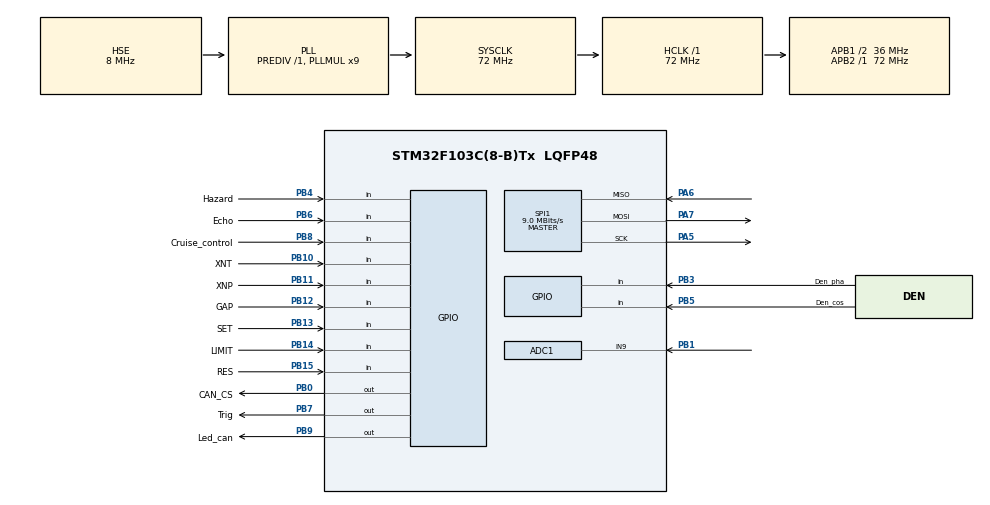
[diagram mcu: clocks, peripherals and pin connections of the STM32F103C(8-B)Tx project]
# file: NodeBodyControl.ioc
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ADC1.Channel-0\#ChannelRegularConversion=ADC_CHANNEL_9
ADC1.ContinuousConvMode=ENABLE
ADC1.NbrOfConversionFlag=1
ADC1.Rank-0\#ChannelRegularConversion=1
ADC1.SamplingTime-0\#ChannelRegularConversion=ADC_SAMPLETIME_1CYCLE_5
ADC1.master=1
Mcu.Family=STM32F1
Mcu.Name=STM32F103C(8-B)Tx
Mcu.Package=LQFP48
NVIC.PriorityGroup=NVIC_PRIORITYGROUP_4
PA13.Mode=Serial_Wire
PA13.Signal=SYS_JTMS-SWDIO
PA14.Mode=Serial_Wire
PA14.Signal=SYS_JTCK-SWCLK
PA5.Mode=Full_Duplex_Master
PA5.Signal=SPI1_SCK
PA6.Mode=Full_Duplex_Master
PA6.Signal=SPI1_MISO
PA7.Mode=Full_Duplex_Master
PA7.Signal=SPI1_MOSI
PB0.GPIO_Label=CAN_CS
PB0.Signal=GPIO_Output
PB1.Signal=ADCx_IN9
PB10.GPIO_Label=XNT
PB10.GPIO_PuPd=GPIO_PULLUP
PB10.Signal=GPIO_Input
PB11.GPIO_Label=XNP
PB11.GPIO_PuPd=GPIO_PULLUP
PB11.Signal=GPIO_Input
PB12.GPIO_Label=GAP
PB12.Signal=GPIO_Input
PB13.GPIO_Label=SET
PB13.Signal=GPIO_Input
PB14.GPIO_Label=LIMIT
PB14.Signal=GPIO_Input
PB15.GPIO_Label=RES
PB15.Signal=GPIO_Input
PB3.GPIO_Label=Den_pha
PB3.Signal=GPIO_Input
PB4.GPIO_Label=Hazard
PB4.Signal=GPIO_Input
PB5.GPIO_Label=Den_cos
PB5.Signal=GPIO_Input
PB6.GPIO_Label=Echo
PB6.Signal=GPIO_Input
PB7.GPIO_Label=Trig
PB7.Signal=GPIO_Output
PB8.GPIO_Label=Cruise_control
PB8.GPIO_PuPd=GPIO_PULLUP
PB8.Signal=GPIO_Input
PB9.GPIO_Label=Led_can
PB9.Signal=GPIO_Output
PD0-OSC_IN.Mode=HSE-External-Oscillator
PD0-OSC_IN.Signal=RCC_OSC_IN
PD1-OSC_OUT.Mode=HSE-External-Oscillator
PD1-OSC_OUT.Signal=RCC_OSC_OUT
ProjectManager.HeapSize=0x200
ProjectManager.StackSize=0x400
ProjectManager.TargetToolchain=MDK-ARM V5
RCC.ADCPresc=RCC_ADCPCLK2_DIV6
RCC.AHBFreq_Value=72000000
RCC.APB1CLKDivider=RCC_HCLK_DIV2
RCC.APB1Freq_Value=36000000
RCC.APB1TimFreq_Value=72000000
RCC.APB2Freq_Value=72000000
RCC.APB2TimFreq_Value=72000000
RCC.HCLKFreq_Value=72000000
RCC.PLLMUL=RCC_PLL_MUL9
RCC.PLLSourceVirtual=RCC_PLLSOURCE_HSE
RCC.SYSCLKFreq_VALUE=72000000
RCC.SYSCLKSource=RCC_SYSCLKSOURCE_PLLCLK
RCC.USBFreq_Value=72000000
SH.ADCx_IN9.0=ADC1_IN9,IN9
SPI1.BaudRatePrescaler=SPI_BAUDRATEPRESCALER_8
SPI1.CalculateBaudRate=9.0 MBits/s
SPI1.Direction=SPI_DIRECTION_2LINES
SPI1.Mode=SPI_MODE_MASTER
SPI1.VirtualType=VM_MASTER
TIM1.Prescaler=71
VP_TIM1_VS_ClockSourceINT.Mode=Internal
board=custom

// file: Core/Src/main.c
/* USER CODE BEGIN Header */
/**
  ******************************************************************************
  * @file           : main.c
  * @brief          : Main program body
  ******************************************************************************
  * @attention
  *
  * Copyright (c) 2025 STMicroelectronics.
  * All rights reserved.
  *
  * This software is licensed under terms that can be found in the LICENSE file
  * in the root directory of this software component.
  * If no LICENSE file comes with this software, it is provided AS-IS.
  *
  ******************************************************************************
  */
/* USER CODE END Header */
#include "main.h"

/* USER CODE BEGIN Includes */
#include "stdlib.h"
#include "stm32f1xx_hal.h"
#include "CAN_SPI.h"
/* USER CODE END Includes */

ADC_HandleTypeDef hadc1;

SPI_HandleTypeDef hspi1;

TIM_HandleTypeDef htim1;

/* USER CODE BEGIN PV */

uint8_t debug;
uint8_t cruise_state = 0;
uint16_t set_speed = 0;

typedef struct {
    // Byte 0: cum ADAS
    uint8_t btn_byte0;

    // byte 1: cum den
		uint8_t btn_byte1;

    // Byte 2-3: Joystick (16 bit)
    uint16_t joystick_val;

    // Byte 4-5: distance (16 bit)
    uint16_t distance_cm;

    // Byte 6: Level Gap (1, 2, 3)
    uint8_t gap_level;

    uint8_t target_speed;

} BodyControl_Data_t;

typedef union {
    BodyControl_Data_t frame;
    uint8_t raw_data[8];
} CAN_Packet_u;

uint16_t Distance  = 0;  // cm

uint16_t readValueX;
uint16_t lastSentX = 2048;
#define JOYSTICK_DEADZONE 15

uCAN_MSG txMessage;
uCAN_MSG rxMessage;
/* USER CODE END PV */

void SystemClock_Config(void);
static void MX_GPIO_Init(void);
static void MX_ADC1_Init(void);
static void MX_SPI1_Init(void);
static void MX_TIM1_Init(void);

/* USER CODE BEGIN 0 */
#define ADC_SAMPLES 5

uint16_t readADC_Filtered(ADC_HandleTypeDef* hadc) {
	uint32_t adc_sum = 0;
	for (int i = 0; i < ADC_SAMPLES; i++) {
		adc_sum += HAL_ADC_GetValue(hadc);
	}
	return adc_sum / ADC_SAMPLES;
}

// Ham doc HC-SR04
uint16_t HCSR04_Read(void) {
    uint32_t pMillis;
    uint32_t Value1 = 0;
    uint32_t Value2 = 0;

    // Tao xung Trigger (10us)
    HAL_GPIO_WritePin(Trig_GPIO_Port, Trig_Pin, GPIO_PIN_SET);
    __HAL_TIM_SET_COUNTER(&htim1, 0);
    while (__HAL_TIM_GET_COUNTER(&htim1) < 10);
    HAL_GPIO_WritePin(Trig_GPIO_Port, Trig_Pin, GPIO_PIN_RESET);

    //Cho Echo phan hoi
    pMillis = HAL_GetTick();
    while (!(HAL_GPIO_ReadPin(Echo_GPIO_Port, Echo_Pin))) {
        if ((HAL_GetTick() - pMillis) > 10) return 0;
    }
    Value1 = __HAL_TIM_GET_COUNTER(&htim1);

    pMillis = HAL_GetTick();
    while ((HAL_GPIO_ReadPin(Echo_GPIO_Port, Echo_Pin))) {
        if ((HAL_GetTick() - pMillis) > 50) return 0;
    }
    Value2 = __HAL_TIM_GET_COUNTER(&htim1);

    // (Time muc cao) * 0.034 / 2
    uint16_t distance = (Value2 - Value1) * 0.034 / 2;

    return distance;
}
/* USER CODE END 0 */

int main(void)
{

  /* MCU Configuration--------------------------------------------------------*/

  /* Reset of all peripherals, Initializes the Flash interface and the Systick. */
  HAL_Init();

  /* Configure the system clock */
  SystemClock_Config();

  /* Initialize all configured peripherals */
  MX_GPIO_Init();
  MX_ADC1_Init();
  MX_SPI1_Init();
  MX_TIM1_Init();
  /* USER CODE BEGIN 2 */
	HAL_ADC_Start(&hadc1);
	CANSPI_Initialize();

	HAL_TIM_Base_Start(&htim1);
	HAL_GPIO_WritePin(Trig_GPIO_Port, Trig_Pin, GPIO_PIN_RESET);
	HAL_GPIO_WritePin(Led_can_GPIO_Port, Led_can_Pin, 0);

	CAN_Packet_u myPacket;

	while (HAL_GPIO_ReadPin(Den_pha_GPIO_Port, Den_pha_Pin) == 0 ||
				 HAL_GPIO_ReadPin(Den_cos_GPIO_Port, Den_cos_Pin) == 0 ||
				 HAL_GPIO_ReadPin(XNT_GPIO_Port, XNT_Pin) == 0 ||
				 HAL_GPIO_ReadPin(XNP_GPIO_Port, XNP_Pin) == 0 ||
				 HAL_GPIO_ReadPin(Cruise_control_GPIO_Port, Cruise_control_Pin) == 0 ||
				 HAL_GPIO_ReadPin(SET_GPIO_Port, SET_Pin) == 0 ||
				 HAL_GPIO_ReadPin(RES_GPIO_Port, RES_Pin) == 0 ||
				 HAL_GPIO_ReadPin(GAP_GPIO_Port, GAP_Pin) == 0 ||
				 HAL_GPIO_ReadPin(LIMIT_GPIO_Port, LIMIT_Pin) == 0 ||
				 HAL_GPIO_ReadPin(Hazard_GPIO_Port, Hazard_Pin) == 0)
				 {
					HAL_Delay(10);
				 }
  /* USER CODE END 2 */

  /* Infinite loop */
  while (1)
  {

    /* USER CODE BEGIN 3 */
		if (CANSPI_Receive(&rxMessage)) {
			if (rxMessage.frame.id == 0x03) {
				uint8_t limit_val = rxMessage.frame.data6;

				if (limit_val == 0) {
					cruise_state = 0;
					set_speed = 0;
				}
			}
		}
		myPacket.frame.btn_byte0   = 0;

		// --- Active button ---
		debug = HAL_GPIO_ReadPin(Cruise_control_GPIO_Port, Cruise_control_Pin);

		if (HAL_GPIO_ReadPin(Cruise_control_GPIO_Port, Cruise_control_Pin) == GPIO_PIN_RESET) {
        myPacket.frame.btn_byte0 |= (1 << 0);
    }

		// --- Set button ---
		if (HAL_GPIO_ReadPin(SET_GPIO_Port, SET_Pin) == GPIO_PIN_RESET) {
        myPacket.frame.btn_byte0 |= (1 << 1);
    }

		// --- Res button ---
		if (HAL_GPIO_ReadPin(RES_GPIO_Port, RES_Pin) == GPIO_PIN_RESET) {
        myPacket.frame.btn_byte0 |= (1 << 2);
    }

		// --- Gap button
		if (HAL_GPIO_ReadPin(GAP_GPIO_Port, GAP_Pin) == GPIO_PIN_RESET) {
        myPacket.frame.btn_byte0 |= (1 << 3);
    }

		if (HAL_GPIO_ReadPin(LIMIT_GPIO_Port, LIMIT_Pin) == GPIO_PIN_RESET) {
				HAL_Delay(20);
				if (HAL_GPIO_ReadPin(LIMIT_GPIO_Port, LIMIT_Pin) == GPIO_PIN_RESET) {
					myPacket.frame.btn_byte0 |= (1 << 4);
				}

    }

		myPacket.frame.btn_byte1 = 0;

		if (HAL_GPIO_ReadPin(Den_pha_GPIO_Port, Den_pha_Pin) == GPIO_PIN_RESET) {
			myPacket.frame.btn_byte1 |= (1 << 0);
		}
		if (HAL_GPIO_ReadPin(Den_cos_GPIO_Port, Den_cos_Pin) == GPIO_PIN_RESET) {
			myPacket.frame.btn_byte1 |= (1 << 1);
		}
		if (HAL_GPIO_ReadPin(XNT_GPIO_Port, XNT_Pin) == GPIO_PIN_RESET) {
			myPacket.frame.btn_byte1 |= (1 << 2);
		}
		if (HAL_GPIO_ReadPin(XNP_GPIO_Port, XNP_Pin) == GPIO_PIN_RESET) {
			myPacket.frame.btn_byte1 |= (1 << 3);
		}
		if (HAL_GPIO_ReadPin(Hazard_GPIO_Port, Hazard_Pin) == GPIO_PIN_RESET) {
			myPacket.frame.btn_byte1 |= (1 << 4);
		}

		myPacket.frame.joystick_val = lastSentX;

		Distance = HCSR04_Read();
		myPacket.frame.distance_cm  = Distance;

		uint16_t filteredX = readADC_Filtered(&hadc1);

		if (abs(filteredX - lastSentX) > JOYSTICK_DEADZONE) {
			lastSentX = filteredX;
		}

//		static uint8_t cruise_state = 0;
//    static uint16_t set_speed = 0;
    static uint8_t last_btn_byte0 = 0;
		static uint16_t safety_distance = 50;
		static uint8_t saved_gap_level = 3;

		uint8_t current_btn = myPacket.frame.btn_byte0;

		// cruise control button
		if ((current_btn & 0x01) && !(last_btn_byte0 & 0x01)) {
			if (cruise_state == 0) {
				cruise_state = 1;  //ready
			} else {
				cruise_state = 0;
				set_speed = 0;
			}
		}

		//set/+
		if ((current_btn & 0x02) && !(last_btn_byte0 & 0x02)) {
			if (cruise_state == 1) {
				cruise_state = 2;		//active
				set_speed = 40;
			} else if (cruise_state == 2) {
					set_speed -= 2;
					if (set_speed > 100) set_speed = 100;
			}
		}

		//res/-
		if ((current_btn & 0x04) && !(last_btn_byte0 & 0x04)) {
			if (cruise_state == 1) {
				cruise_state = 2;
				set_speed = 40;
			} else if (cruise_state == 2) {
				if (set_speed >= 5) set_speed += 2;
			}
		}

		//GAP
		if ((current_btn & 0x08) && !(last_btn_byte0 & 0x08)) {
			saved_gap_level++;
			if (saved_gap_level > 3) saved_gap_level = 1;

			// Cập nhật khoảng cách an toàn theo Level
			if (saved_gap_level == 3) safety_distance = 50;
			else if (saved_gap_level == 2) safety_distance = 30;
			else safety_distance = 15;
		}

		myPacket.frame.gap_level = saved_gap_level;

		last_btn_byte0 = current_btn;

		uint8_t final_speed_cmd = 0;

		if (cruise_state == 2) {
			if (Distance > 0 && Distance < safety_distance) {
				if (Distance < 10) {
					final_speed_cmd = 0;
				} else {
					final_speed_cmd = (uint8_t)((float)Distance / safety_distance * set_speed);
				}
			} else {
				final_speed_cmd = (uint8_t)set_speed;
			}
		} else {
			final_speed_cmd = 0;
		}

		myPacket.frame.target_speed = final_speed_cmd;
		//myPacket.frame.target_speed = (uint8_t)set_speed;

		txMessage.frame.idType = dSTANDARD_CAN_MSG_ID_2_0B;
		txMessage.frame.id = 0x01;
		txMessage.frame.dlc = 8;
		txMessage.frame.data0 = myPacket.raw_data[0];
		txMessage.frame.data1 = myPacket.raw_data[1];
		txMessage.frame.data2 = myPacket.raw_data[2];
		txMessage.frame.data3 = myPacket.raw_data[3];
		txMessage.frame.data4 = myPacket.raw_data[4];
		txMessage.frame.data5 = myPacket.raw_data[5];
		txMessage.frame.data6 = myPacket.raw_data[6];
		txMessage.frame.data7 = myPacket.raw_data[7];
		//CANSPI_Transmit(&txMessage);

		if (CANSPI_Transmit(&txMessage)) {
			HAL_GPIO_TogglePin(Led_can_GPIO_Port, Led_can_Pin);
		}

		HAL_Delay(50);
  }
  /* USER CODE END 3 */
}

void SystemClock_Config(void)
{
  RCC_OscInitTypeDef RCC_OscInitStruct = {0};
  RCC_ClkInitTypeDef RCC_ClkInitStruct = {0};
  RCC_PeriphCLKInitTypeDef PeriphClkInit = {0};

  /** Initializes the RCC Oscillators according to the specified parameters
  * in the RCC_OscInitTypeDef structure.
  */
  RCC_OscInitStruct.OscillatorType = RCC_OSCILLATORTYPE_HSE;
  RCC_OscInitStruct.HSEState = RCC_HSE_ON;
  RCC_OscInitStruct.HSEPredivValue = RCC_HSE_PREDIV_DIV1;
  RCC_OscInitStruct.HSIState = RCC_HSI_ON;
  RCC_OscInitStruct.PLL.PLLState = RCC_PLL_ON;
  RCC_OscInitStruct.PLL.PLLSource = RCC_PLLSOURCE_HSE;
  RCC_OscInitStruct.PLL.PLLMUL = RCC_PLL_MUL9;
  if (HAL_RCC_OscConfig(&RCC_OscInitStruct) != HAL_OK)
  {
    Error_Handler();
  }

  /** Initializes the CPU, AHB and APB buses clocks
  */
  RCC_ClkInitStruct.ClockType = RCC_CLOCKTYPE_HCLK|RCC_CLOCKTYPE_SYSCLK
                              |RCC_CLOCKTYPE_PCLK1|RCC_CLOCKTYPE_PCLK2;
  RCC_ClkInitStruct.SYSCLKSource = RCC_SYSCLKSOURCE_PLLCLK;
  RCC_ClkInitStruct.AHBCLKDivider = RCC_SYSCLK_DIV1;
  RCC_ClkInitStruct.APB1CLKDivider = RCC_HCLK_DIV2;
  RCC_ClkInitStruct.APB2CLKDivider = RCC_HCLK_DIV1;

  if (HAL_RCC_ClockConfig(&RCC_ClkInitStruct, FLASH_LATENCY_2) != HAL_OK)
  {
    Error_Handler();
  }
  PeriphClkInit.PeriphClockSelection = RCC_PERIPHCLK_ADC;
  PeriphClkInit.AdcClockSelection = RCC_ADCPCLK2_DIV6;
  if (HAL_RCCEx_PeriphCLKConfig(&PeriphClkInit) != HAL_OK)
  {
    Error_Handler();
  }
}

static void MX_ADC1_Init(void)
{

  ADC_ChannelConfTypeDef sConfig = {0};

  /** Common config
  */
  hadc1.Instance = ADC1;
  hadc1.Init.ScanConvMode = ADC_SCAN_DISABLE;
  hadc1.Init.ContinuousConvMode = ENABLE;
  hadc1.Init.DiscontinuousConvMode = DISABLE;
  hadc1.Init.ExternalTrigConv = ADC_SOFTWARE_START;
  hadc1.Init.DataAlign = ADC_DATAALIGN_RIGHT;
  hadc1.Init.NbrOfConversion = 1;
  if (HAL_ADC_Init(&hadc1) != HAL_OK)
  {
    Error_Handler();
  }

  /** Configure Regular Channel
  */
  sConfig.Channel = ADC_CHANNEL_9;
  sConfig.Rank = ADC_REGULAR_RANK_1;
  sConfig.SamplingTime = ADC_SAMPLETIME_1CYCLE_5;
  if (HAL_ADC_ConfigChannel(&hadc1, &sConfig) != HAL_OK)
  {
    Error_Handler();
  }

}

static void MX_SPI1_Init(void)
{

  /* SPI1 parameter configuration*/
  hspi1.Instance = SPI1;
  hspi1.Init.Mode = SPI_MODE_MASTER;
  hspi1.Init.Direction = SPI_DIRECTION_2LINES;
  hspi1.Init.DataSize = SPI_DATASIZE_8BIT;
  hspi1.Init.CLKPolarity = SPI_POLARITY_LOW;
  hspi1.Init.CLKPhase = SPI_PHASE_1EDGE;
  hspi1.Init.NSS = SPI_NSS_SOFT;
  hspi1.Init.BaudRatePrescaler = SPI_BAUDRATEPRESCALER_8;
  hspi1.Init.FirstBit = SPI_FIRSTBIT_MSB;
  hspi1.Init.TIMode = SPI_TIMODE_DISABLE;
  hspi1.Init.CRCCalculation = SPI_CRCCALCULATION_DISABLE;
  hspi1.Init.CRCPolynomial = 10;
  if (HAL_SPI_Init(&hspi1) != HAL_OK)
  {
    Error_Handler();
  }

}

static void MX_TIM1_Init(void)
{

  TIM_ClockConfigTypeDef sClockSourceConfig = {0};
  TIM_MasterConfigTypeDef sMasterConfig = {0};

  htim1.Instance = TIM1;
  htim1.Init.Prescaler = 71;
  htim1.Init.CounterMode = TIM_COUNTERMODE_UP;
  htim1.Init.Period = 65535;
  htim1.Init.ClockDivision = TIM_CLOCKDIVISION_DIV1;
  htim1.Init.RepetitionCounter = 0;
  htim1.Init.AutoReloadPreload = TIM_AUTORELOAD_PRELOAD_DISABLE;
  if (HAL_TIM_Base_Init(&htim1) != HAL_OK)
  {
    Error_Handler();
  }
  sClockSourceConfig.ClockSource = TIM_CLOCKSOURCE_INTERNAL;
  if (HAL_TIM_ConfigClockSource(&htim1, &sClockSourceConfig) != HAL_OK)
  {
    Error_Handler();
  }
  sMasterConfig.MasterOutputTrigger = TIM_TRGO_RESET;
  sMasterConfig.MasterSlaveMode = TIM_MASTERSLAVEMODE_DISABLE;
  if (HAL_TIMEx_MasterConfigSynchronization(&htim1, &sMasterConfig) != HAL_OK)
  {
    Error_Handler();
  }

}

static void MX_GPIO_Init(void)
{
  GPIO_InitTypeDef GPIO_InitStruct = {0};

  /* GPIO Ports Clock Enable */
  __HAL_RCC_GPIOD_CLK_ENABLE();
  __HAL_RCC_GPIOA_CLK_ENABLE();
  __HAL_RCC_GPIOB_CLK_ENABLE();

  /*Configure GPIO pin Output Level */
  HAL_GPIO_WritePin(GPIOB, CAN_CS_Pin|Trig_Pin|Led_can_Pin, GPIO_PIN_RESET);

  /*Configure GPIO pins : CAN_CS_Pin Trig_Pin Led_can_Pin */
  GPIO_InitStruct.Pin = CAN_CS_Pin|Trig_Pin|Led_can_Pin;
  GPIO_InitStruct.Mode = GPIO_MODE_OUTPUT_PP;
  GPIO_InitStruct.Pull = GPIO_NOPULL;
  GPIO_InitStruct.Speed = GPIO_SPEED_FREQ_LOW;
  HAL_GPIO_Init(GPIOB, &GPIO_InitStruct);

  /*Configure GPIO pins : XNT_Pin XNP_Pin Cruise_control_Pin */
  GPIO_InitStruct.Pin = XNT_Pin|XNP_Pin|Cruise_control_Pin;
  GPIO_InitStruct.Mode = GPIO_MODE_INPUT;
  GPIO_InitStruct.Pull = GPIO_PULLUP;
  HAL_GPIO_Init(GPIOB, &GPIO_InitStruct);

  /*Configure GPIO pins : GAP_Pin SET_Pin LIMIT_Pin RES_Pin
                           Den_pha_Pin Hazard_Pin Den_cos_Pin Echo_Pin */
  GPIO_InitStruct.Pin = GAP_Pin|SET_Pin|LIMIT_Pin|RES_Pin
                          |Den_pha_Pin|Hazard_Pin|Den_cos_Pin|Echo_Pin;
  GPIO_InitStruct.Mode = GPIO_MODE_INPUT;
  GPIO_InitStruct.Pull = GPIO_NOPULL;
  HAL_GPIO_Init(GPIOB, &GPIO_InitStruct);

}

void Error_Handler(void)
{
  __disable_irq();
  while (1)
  {
  }
}
